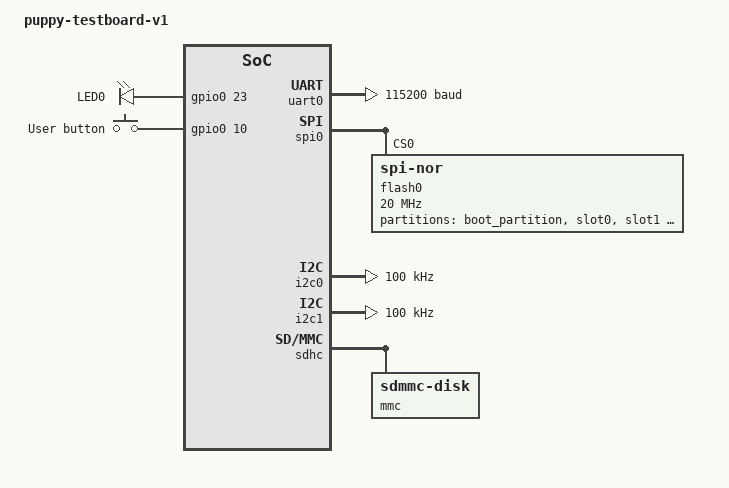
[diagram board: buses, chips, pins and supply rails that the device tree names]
#include <caninos/puppy_v1.dtsi>
#include <mem.h>

/ {
	model = "puppy-testboard-v1";
	compatible = "caninos,puppy-testboard-v1";

	chosen {
		mcuboot,ram-load-dev = &sram;
		zephyr,code-partition = &slot0_partition;
		zephyr,flash-controller = &spi0;
		zephyr,sram = &sram;
		zephyr,flash = &flash0;
		zephyr,console = &uart0;
		zephyr,shell-uart = &uart0;
		zephyr,uart-mcumgr = &uart0;
	};

	aliases {
		led0 = &led0;
		mcuboot-button0 = &button0;
		mcuboot-led0 = &led0;
		eeprom-0 = &flash0;
	};

	leds {
		compatible = "gpio-leds";

		led0: led_0 {
			gpios = <&gpio0 23 GPIO_ACTIVE_HIGH>;
			label = "LED0";
		};
	};

	buttons {
		compatible = "gpio-keys";

		button0: button_0 {
			gpios = <&gpio0 10 GPIO_ACTIVE_HIGH>;
			label = "User button";
		};
	};
};

&gpio0 {
	status = "okay";
};

&uart0 {
	status = "okay";
	current-speed = <115200>;
	parity = "none";
};

&spi0 {
	status = "okay";

	flash0: flash@0 {
		compatible = "jedec,spi-nor";
		status = "okay";
		size = <DT_SIZE_M(8)>;
		reg = <0>;
		spi-max-frequency = <20000000>;

		partitions {
			compatible = "fixed-partitions";
			#size-cells = <1>;
			#address-cells = <1>;

			boot_partition: partition@0 {
				reg = <0x0 0x20000>;
				label = "boot_partition";
				read-only;
			};

			slot0_partition: partition@20000 {
				reg = <0x20000 0x40000>;
				label = "slot0";
			};

			slot1_partition: partition@60000 {
				reg = <0x60000 0x40000>;
				label = "slot1";
			};

			storage_partition: partition@a0000 {
				reg = <0xa0000 0x10000>;
				label = "storage";
			};
		};
	};
};

&i2c0 {
	status = "okay";
	clock-frequency = <100000>;
};

&i2c1 {
	status = "okay";
	clock-frequency = <100000>;
};

&sdhc {
	mmc {
		compatible = "zephyr,sdmmc-disk";
		disk-name = "SD";
		status = "okay";
	};
};
